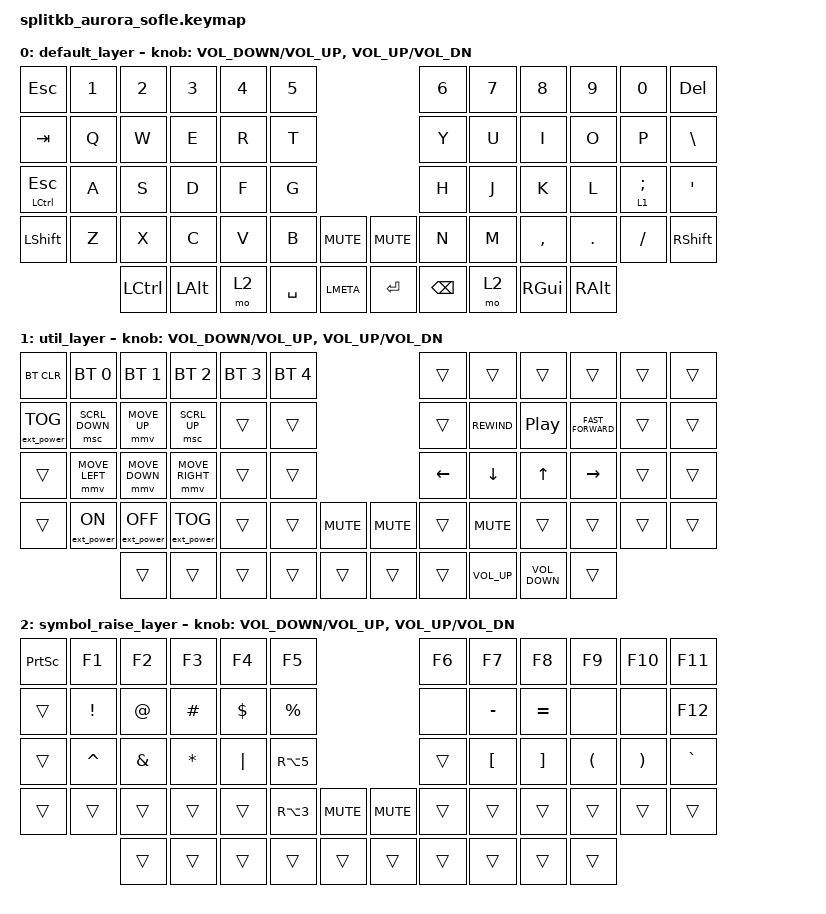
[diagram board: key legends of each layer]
/*
 * Copyright (c) 2023 The ZMK Contributors
 *
 * SPDX-License-Identifier: MIT
 */

#include <behaviors.dtsi>
#include <dt-bindings/zmk/bt.h>
#include <dt-bindings/zmk/ext_power.h>
#include <dt-bindings/zmk/keys.h>
#include <dt-bindings/zmk/pointing.h>

// Editor used: https://nickcoutsos.github.io/keymap-editor/

/ {
    keymap {
        compatible = "zmk,keymap";

        default_layer {
            bindings = <
&kp ESC        &kp N1  &kp N2     &kp N3    &kp N4  &kp N5                               &kp N6    &kp N7  &kp N8     &kp N9    &kp N0      &kp DEL
&kp TAB        &kp Q   &kp W      &kp E     &kp R   &kp T                                &kp Y     &kp U   &kp I      &kp O     &kp P       &kp BSLH
&mt LCTRL ESC  &kp A   &kp S      &kp D     &kp F   &kp G                                &kp H     &kp J   &kp K      &kp L     &lt 1 SEMI  &kp SQT
&kp LSHFT      &kp Z   &kp X      &kp C     &kp V   &kp B      &kp K_MUTE    &kp K_MUTE  &kp N     &kp M   &kp COMMA  &kp DOT   &kp FSLH    &kp RSHFT
                       &kp LCTRL  &kp LALT  &mo 2   &kp SPACE  &kp LMETA     &kp RET     &kp BSPC  &mo 2   &kp RGUI   &kp RALT
            >;

            sensor-bindings =
                <&inc_dec_kp C_VOLUME_DOWN C_VOLUME_UP>,
                <&inc_dec_kp C_VOL_UP C_VOL_DN>;
        };

        util_layer {
            bindings = <
&bt BT_CLR         &bt BT_SEL 0      &bt BT_SEL 1       &bt BT_SEL 2       &bt BT_SEL 3  &bt BT_SEL 4                            &trans          &trans           &trans             &trans              &trans  &trans
&ext_power EP_TOG  &msc SCRL_DOWN    &mmv MOVE_UP       &msc SCRL_UP       &trans        &trans                                  &trans          &kp C_REWIND     &kp C_PLAY_PAUSE   &kp C_FAST_FORWARD  &trans  &trans
&trans             &mmv MOVE_LEFT    &mmv MOVE_DOWN     &mmv MOVE_RIGHT    &trans        &trans                                  &kp LEFT_ARROW  &kp DOWN_ARROW   &kp UP_ARROW       &kp RIGHT_ARROW     &trans  &trans
&trans             &ext_power EP_ON  &ext_power EP_OFF  &ext_power EP_TOG  &trans        &trans        &kp K_MUTE    &kp K_MUTE  &trans          &kp C_MUTE       &trans             &trans              &trans  &trans
                                     &trans             &trans             &trans        &trans        &trans        &trans      &trans          &kp C_VOLUME_UP  &kp C_VOLUME_DOWN  &trans
            >;

            sensor-bindings =
                <&inc_dec_kp C_VOLUME_DOWN C_VOLUME_UP>,
                <&inc_dec_kp C_VOL_UP C_VOL_DN>;
        };

        symbol_raise_layer {
            bindings = <
&kp PRINTSCREEN  &kp F1           &kp F2       &kp F3    &kp F4      &kp F5                                      &kp F6  &kp F7            &kp F8             &kp F9                &kp F10                &kp F11
&trans           &kp EXCLAMATION  &kp AT_SIGN  &kp HASH  &kp DOLLAR  &kp PERCENT                                 &none   &kp MINUS         &kp EQUAL          &none                 &none                  &kp F12
&trans           &kp CARET        &kp AMPS     &kp STAR  &kp PIPE    &kp RA(N5)                                  &trans  &kp LEFT_BRACKET  &kp RIGHT_BRACKET  &kp LEFT_PARENTHESIS  &kp RIGHT_PARENTHESIS  &kp GRAVE
&trans           &trans           &trans       &trans    &trans      &kp RA(NUMBER_3)  &kp K_MUTE    &kp K_MUTE  &trans  &trans            &trans             &trans                &trans                 &trans
                                  &trans       &trans    &trans      &trans            &trans        &trans      &trans  &trans            &trans             &trans
            >;

            sensor-bindings =
                <&inc_dec_kp C_VOLUME_DOWN C_VOLUME_UP>,
                <&inc_dec_kp C_VOL_UP C_VOL_DN>;
        };
    };
};
